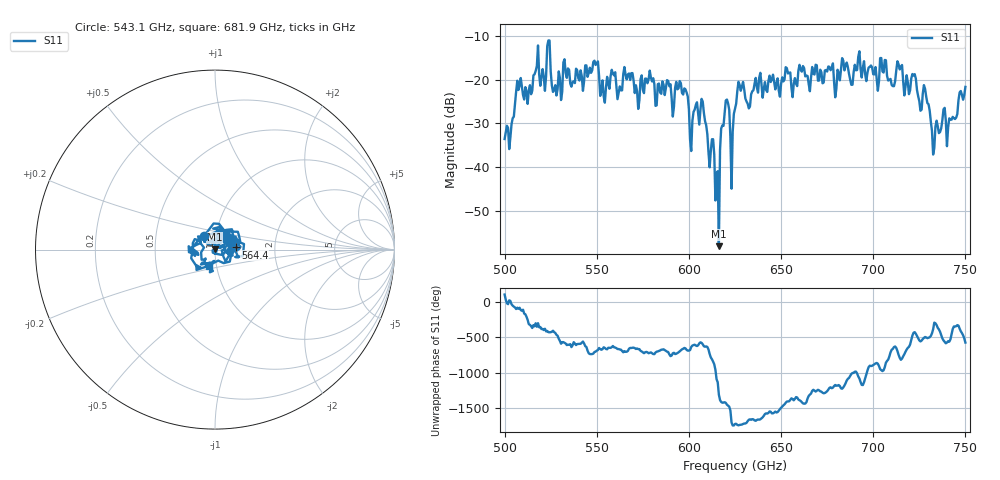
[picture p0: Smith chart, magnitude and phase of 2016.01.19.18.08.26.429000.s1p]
!Created with skrf (http://scikit-rf.org).
# GHz S RI R 50.0
!freq ReS11 ImS11
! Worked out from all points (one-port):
!   401 points, 500 GHz to 750 GHz, reference 50 ohm
!   lowest |S11| = -58.0 dB at 616.2 GHz (marker M1), VSWR 1.00, Z = 49.9 + j0.0968 ohm
!   |S11| at or under -10 dB: start of sweep to end of sweep
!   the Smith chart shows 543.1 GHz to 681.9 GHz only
!   S11 on the Smith chart (normalised r, x): 543.1 GHz: 0.87, +0.13; 564.4 GHz: 1.26, +0.03; 681.9 GHz: 0.92, -0.17
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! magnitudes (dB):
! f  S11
! 500 GHz  -33.5
! 503.8 GHz  -30.2
! 507.5 GHz  -22.4
! 513.8 GHz  -21.3
! 516.9 GHz  -18.0
! 531.2 GHz  -22.8
! 543.1 GHz  -20.3
! 549.4 GHz  -16.7
! 562.5 GHz  -21.5
! 564.4 GHz  -18.8
! 593.8 GHz  -22.2
! 601.2 GHz  -36.3
! 607.5 GHz  -25.0
! 615 GHz  -41.5
! 616.2 GHz  -58.0
! 619.4 GHz  -27.6
! 623.8 GHz  -31.9
! 625 GHz  -26.6
! 628.1 GHz  -22.5
! 631.9 GHz  -25.5
! 656.2 GHz  -24.0
! 681.9 GHz  -20.2
! 687.5 GHz  -20.0
! 714.4 GHz  -17.7
! 718.8 GHz  -20.6
! 728.8 GHz  -23.9
! 732.5 GHz  -37.1
! 750 GHz  -21.7
